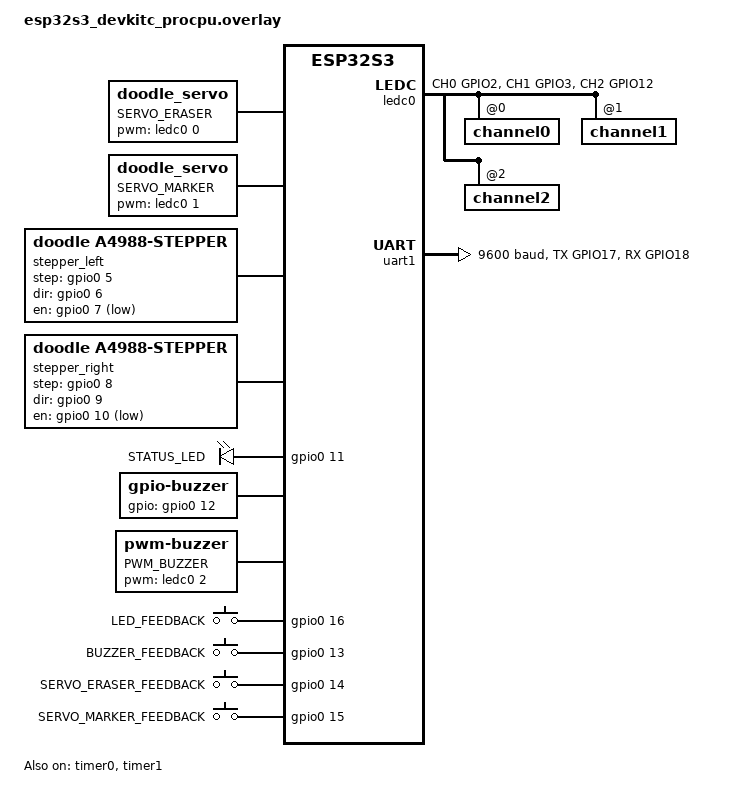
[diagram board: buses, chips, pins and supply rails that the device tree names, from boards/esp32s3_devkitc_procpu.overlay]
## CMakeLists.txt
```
cmake_minimum_required(VERSION 3.20.0)

# Add devicetree bindings directory
list(APPEND DTS_ROOT ${CMAKE_SOURCE_DIR}/..)

find_package(Zephyr REQUIRED HINTS $ENV{ZEPHYR_BASE})
project(doodle_bot)

# Main application sources
file(GLOB DOODLE_BOT_SOURCES "src/*.c" "src/*.cpp")
target_sources(app PRIVATE ${DOODLE_BOT_SOURCES})

# Include driver sources for main application
target_sources(app PRIVATE 
    ${CMAKE_SOURCE_DIR}/../drivers/stepper/a4988.c
    ${CMAKE_SOURCE_DIR}/../drivers/buzzer/pwm_buzzer.c
    ${CMAKE_SOURCE_DIR}/../drivers/buzzer/melody.c
    ${CMAKE_SOURCE_DIR}/../drivers/led/simple_led.c
    ${CMAKE_SOURCE_DIR}/../drivers/servo/servo.c
)

# Include directories
target_include_directories(app PRIVATE 
    ${CMAKE_CURRENT_SOURCE_DIR}/include 
    ${CMAKE_SOURCE_DIR}/../include
    ${CMAKE_SOURCE_DIR}/../drivers/servo
    ${CMAKE_SOURCE_DIR}/../drivers/stepper
    ${CMAKE_SOURCE_DIR}/../drivers/buzzer
    ${CMAKE_SOURCE_DIR}/../drivers/led
    ${ZEPHYR_BASE}/drivers/stepper  # For step_dir_stepper_common.h
)

# Add specific flags for x86 platform to handle floating point
if(CONFIG_X86)
    target_compile_options(app PRIVATE
        $<$<COMPILE_LANGUAGE:CXX>:-m32 -mno-sse -mno-mmx>
    )
endif()
```

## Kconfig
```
# Copyright (c) 2021 Nordic Semiconductor ASA
# SPDX-License-Identifier: Apache-2.0
#
# This file is the application Kconfig entry point. All application Kconfig
# options can be defined here or included via other application Kconfig files.
# You can browse these options using the west targets menuconfig (terminal) or
# guiconfig (GUI).

menu "Zephyr"
source "Kconfig.zephyr"
endmenu

# Include out-of-tree drivers
source "../drivers/Kconfig"

config SERVO_TEST
	bool "Build servo test instead of main application"
	select SERVO
	help
	  When enabled, builds the servo test application instead of the main
	  application.

config PERIPHERAL_DEMO
	bool "Build peripheral demo instead of main application"
	select SERVO
	select STEPPER_DRIVER
	select PWM_BUZZER
	help
	  When enabled, builds the comprehensive peripheral demo showing
	  all robot components: servos, stepper motor, PWM buzzer, and LED.
	  Uses simple GPIO LED driver for reliable operation.

config SERVO_PWM_TEST
	bool "Build PWM test for servo pin debugging"
	select PWM
	help
	  When enabled, builds a direct PWM test to verify P0.12 pin output.
	  This helps debug servo connection issues by sending raw PWM signals.

config LED_TEST
	bool "Build LED test instead of main application"
	select LOCAL_LED_GPIO
	help
	  When enabled, builds the LED test application instead of the main
	  doodle bot application. This allows testing the LED driver in isolation.
	  Uses local LED driver instead of Zephyr's built-in driver.

config BUZZER_TEST
	bool "Build buzzer test instead of main application"
	select BUZZER
	help
	  When enabled, builds the buzzer test application instead of the main
	  doodle bot application. This allows testing the buzzer driver in isolation.

config PWM_BUZZER_TEST
	bool "Build PWM buzzer volume control test"
	select PWM
	help
	  When enabled, builds the PWM buzzer test application for volume control.
	  This test demonstrates how to control passive buzzer volume using PWM duty cycle.

config PWM_BUZZER_DRIVER_TEST
	bool "Build PWM buzzer driver test"
	select PWM
	help
	  When enabled, builds the PWM buzzer driver test application.
	  This test demonstrates the full PWM buzzer driver with volume and frequency control.

config STEPPER_TEST
	bool "Build stepper test instead of main application"
	select DOODLE_A4988_STEPPER
	help
	  Builds stepper test application for isolated driver testing.

module = APP
module-str = APP
```

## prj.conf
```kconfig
# Enable C++ support
CONFIG_CPP=y

# Enable PWM for servo control
CONFIG_PWM=y

# Enable PWM shell commands for debugging
CONFIG_PWM_SHELL=y

# LED: Using custom simple_led driver, not Zephyr's LED subsystem
CONFIG_LED=n

# Enable custom servo driver
CONFIG_SERVO=y

# Enable Zephyr stepper driver subsystem
CONFIG_STEPPER=y

# Enable counter for stepper step timing
CONFIG_COUNTER=y

# Enable GPIO (required for stepper step/dir/enable pins)
CONFIG_GPIO=y

# Enable console/logging for debugging
CONFIG_CONSOLE=y
CONFIG_UART_CONSOLE=y
CONFIG_SERIAL=y

# Enable floating point support in printk
CONFIG_CBPRINTF_FP_SUPPORT=y
CONFIG_LOG=n
CONFIG_LOG_DEFAULT_LEVEL=3
CONFIG_LOG_BACKEND_UART=y

# Disable colored output and simplify format for clean terminal
CONFIG_LOG_BACKEND_UART_OUTPUT_TEXT=y
CONFIG_LOG_BACKEND_FORMAT_TIMESTAMP=n

# Module-specific log levels (0=OFF, 1=ERR, 2=WRN, 3=INF, 4=DBG)
# Set stepper log level to only show errors
# CONFIG_LOG_LEVEL=1

# Disable shell for clean presentation output
# CONFIG_SHELL=y
# CONFIG_SHELL_BACKENDS=y
# CONFIG_SHELL_BACKEND_SERIAL=y
CONFIG_BT=y
CONFIG_BT_PERIPHERAL=y
CONFIG_BT_ZEPHYR_NUS=y
CONFIG_BT_DEVICE_NAME="DOO"

# Enable system reboot
CONFIG_REBOOT=y
```

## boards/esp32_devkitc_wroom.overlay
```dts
/ {
    servo: servo {
        compatible = "doodle-servo";
        pwms = <&ledc0 0 20000000 0>; /* 20ms period, normal polarity on LEDC channel 0 */
    };
};

&pinctrl {
    ledc0_default: ledc0_default {
        group1 {
            pinmux = <LEDC_CH0_GPIO2>; /* GPIO2 for servo PWM */
            output-enable;
        };
    };
};

&ledc0 {
    status = "okay";
    pinctrl-0 = <&ledc0_default>;
    pinctrl-names = "default";
    #pwm-cells = <3>;
};
```

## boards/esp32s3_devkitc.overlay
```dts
/ {
    /* Servo motor for eraser control - GPIO4 PWM */
    servo_eraser: servo_eraser {
        compatible = "doodle-servo";
        pwms = <&ledc0 0 20000000 0>; /* 20ms period, normal polarity - GPIO4 */
        label = "SERVO_ERASER";
    };

    /* Servo motor for marker control - GPIO15 PWM */
    servo_marker: servo_marker {
        compatible = "doodle-servo";
        pwms = <&ledc0 1 20000000 0>; /* 20ms period, normal polarity - GPIO15 */
        label = "SERVO_MARKER";
    };

    /* Left stepper motor via A4988 driver */
    stepper_left: stepper_left {
        compatible = "stepper-driver";
        step-gpio = <&gpio0 5 GPIO_ACTIVE_HIGH>;      /* GPIO5 - Step pulses */
        direction-gpio = <&gpio0 6 GPIO_ACTIVE_HIGH>; /* GPIO6 - Direction control */
        enable-gpio = <&gpio0 7 GPIO_ACTIVE_LOW>;     /* GPIO7 - Enable/disable */
        label = "LEFT_STEPPER";
        steps-per-revolution = <200>;
        microsteps = <16>;            /* Fixed 1/16 microstepping (hardwired) */
        max-speed = <3200>;           /* Max steps/sec (with microstepping) */
        acceleration = <1000>;        /* Steps/sec² */
    };

    /* Right stepper motor via A4988 driver */
    stepper_right: stepper_right {
        compatible = "stepper-driver";
        step-gpio = <&gpio0 8 GPIO_ACTIVE_HIGH>;      /* GPIO8 - Step pulses */
        direction-gpio = <&gpio0 9 GPIO_ACTIVE_HIGH>; /* GPIO9 - Direction control */
        enable-gpio = <&gpio0 10 GPIO_ACTIVE_LOW>;    /* GPIO10 - Enable/disable */
        label = "RIGHT_STEPPER";
        steps-per-revolution = <200>;
        microsteps = <16>;            /* Fixed 1/16 microstepping (hardwired) */
        max-speed = <3200>;           /* Max steps/sec (with microstepping) */
        acceleration = <1000>;        /* Steps/sec² */
    };

    /* GPIO LED configuration */
    leds {
        compatible = "gpio-leds";
        led1: led_1 {
            gpios = <&gpio0 11 GPIO_ACTIVE_HIGH>; /* GPIO11 - Status LED */
            label = "STATUS_LED";
        };
    };

    /* GPIO Buzzer configuration */
    buzzer: buzzer {
        compatible = "gpio-buzzer";
        gpios = <&gpio0 12 GPIO_ACTIVE_HIGH>; /* GPIO12 - Buzzer */
        label = "BUZZER";
    };

    aliases {
        stepper-left = &stepper_left;
        stepper-right = &stepper_right;
        servo-eraser = &servo_eraser;
        servo-marker = &servo_marker;
        led0 = &led1;
        buzzer0 = &buzzer;
    };
};

&ledc0 {
    status = "okay";
    pinctrl-0 = <&ledc0_default>;
    pinctrl-names = "default";
    #pwm-cells = <3>;
};

&pinctrl {
    ledc0_default: ledc0_default {
        group1 {
            pinmux = <LEDC_CH0_GPIO4>,   /* GPIO4 - Servo Eraser PWM */
                     <LEDC_CH1_GPIO15>;  /* GPIO15 - Servo Marker PWM */
            output-enable;
        };
    };
};
```

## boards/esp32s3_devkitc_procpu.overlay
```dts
/ {
    /* Servo motor for eraser control - GPIO2 PWM */
    servo_eraser: servo_eraser {
        status = "okay";
        compatible = "doodle_servo";
        pwms = <&ledc0 0 20000000 0>; /* 20ms period, channel 0, normal polarity - GPIO2 */
        label = "SERVO_ERASER";
    };

    /* Servo motor for marker control - GPIO3 PWM */
    servo_marker: servo_marker {
        status = "okay";
        compatible = "doodle_servo";
        pwms = <&ledc0 1 20000000 0>; /* 20ms period, channel 1, normal polarity - GPIO3 */
        label = "SERVO_MARKER";
    };

    /* Left stepper motor via A4988 driver - GPIO-based (no PWM interference) */
    stepper_left: stepper_left {
        status = "okay";
        compatible = "doodle,a4988-stepper";
        micro-step-res = <16>;
        step-gpios = <&gpio0 5 GPIO_ACTIVE_HIGH>;      /* GPIO5 - Step pulses via GPIO toggle */
        dir-gpios = <&gpio0 6 GPIO_ACTIVE_HIGH>;       /* GPIO6 - Direction control */
        en-gpios = <&gpio0 7 GPIO_ACTIVE_LOW>;         /* GPIO7 - Enable/disable */
        counter = <&counter0>;                          /* Use timer0's counter for step timing */
    };

    /* Right stepper motor via A4988 driver - GPIO-based (no PWM interference) */
    stepper_right: stepper_right {
        status = "okay";
        compatible = "doodle,a4988-stepper";
        micro-step-res = <16>;
        invert-direction;                               /* Invert for differential drive (motors mirrored) */
        step-gpios = <&gpio0 8 GPIO_ACTIVE_HIGH>;      /* GPIO8 - Step pulses via GPIO toggle */
        dir-gpios = <&gpio0 9 GPIO_ACTIVE_HIGH>;       /* GPIO9 - Direction control */
        en-gpios = <&gpio0 10 GPIO_ACTIVE_LOW>;        /* GPIO10 - Enable/disable */
        counter = <&counter1>;                          /* Use timer1's counter for step timing */
    };

    /* DFPlayer Mini audio module */
    dfplayer: dfplayer {
        compatible = "dfplayer-mini";
        uart = <&uart1>;
        label = "DFPLAYER_MINI";
        status = "okay";
    };

    /* GPIO LED configuration */
    leds {
        compatible = "gpio-leds";
        led1: led_1 {
            gpios = <&gpio0 11 GPIO_ACTIVE_HIGH>; /* GPIO11 - External LED (moved from GPIO10) */
            label = "STATUS_LED";
        };
    };

    /* GPIO Buzzer configuration */
    buzzer: buzzer {
        compatible = "gpio-buzzer";
        gpios = <&gpio0 12 GPIO_ACTIVE_HIGH>; /* GPIO12 - Buzzer */
        label = "BUZZER";
    };

    /* PWM Buzzer with volume control - separate from GPIO buzzer */
    pwm_buzzer: pwm_buzzer {
        compatible = "pwm-buzzer";
        pwms = <&ledc0 2 2500000 0>; /* GPIO12 - 400Hz, Channel 2, normal polarity */
        label = "PWM_BUZZER";
    };

    /* Latency measurement feedback pins - jumper wire connections */
    latency_feedback {
        compatible = "gpio-keys";
        
        led_feedback: led_feedback {
            gpios = <&gpio0 16 GPIO_ACTIVE_HIGH>;  /* GPIO16 - LED feedback (moved from GPIO10) */
            label = "LED_FEEDBACK";
        };
        
        buzzer_feedback: buzzer_feedback {
            gpios = <&gpio0 13 GPIO_ACTIVE_HIGH>;  /* GPIO13 - Buzzer feedback */
            label = "BUZZER_FEEDBACK";
        };
        
        servo_eraser_feedback: servo_eraser_feedback {
            gpios = <&gpio0 14 GPIO_ACTIVE_HIGH>;  /* GPIO14 - Servo eraser feedback */
            label = "SERVO_ERASER_FEEDBACK";
        };
        
        servo_marker_feedback: servo_marker_feedback {
            gpios = <&gpio0 15 GPIO_ACTIVE_HIGH>;  /* GPIO15 - Servo marker feedback */
            label = "SERVO_MARKER_FEEDBACK";
        };
    };

    aliases {
        stepper-left = &stepper_left;
        stepper-right = &stepper_right;
        servo-eraser = &servo_eraser;
        servo-marker = &servo_marker;
        servoe = &servo_eraser;  /* servo eraser */
        servom = &servo_marker;  /* servo marker */
        led0 = &led1;
        buzzer0 = &buzzer;
        pwm-buzzer0 = &pwm_buzzer;
        /* Latency measurement aliases */
        led-feedback = &led_feedback;
        buzzer-feedback = &buzzer_feedback;
        servo-eraser-feedback = &servo_eraser_feedback;
        servo-marker-feedback = &servo_marker_feedback;
    };
};

/* Enable timers and their counter sub-nodes for stepper step timing */
&timer0 {
    status = "okay";
    
    /* Enable the counter child node */
    counter0: counter {
        status = "okay";
    };
};

&timer1 {
    status = "okay";
    
    /* Enable the counter child node */
    counter1: counter {
        status = "okay";
    };
};

&ledc0 {
    status = "okay";
    pinctrl-0 = <&ledc0_default>;
    pinctrl-names = "default";
    #pwm-cells = <3>;
    #address-cells = <1>;
    #size-cells = <0>;

    /* Servo channels only - steppers now use GPIO + counter */
    channel0@0 {
        reg = <0x0>;
        timer = <0>;
    };

    channel1@1 {
        reg = <0x1>;
        timer = <0>;
    };

    channel2@2 {
        reg = <0x2>;
        timer = <1>;
    };
};

&pinctrl {
    ledc0_default: ledc0_default {
        group1 {
            pinmux = <LEDC_CH0_GPIO2>,   /* GPIO2 - Servo PWM on Channel 0 */
                     <LEDC_CH1_GPIO3>,   /* GPIO3 - Servo PWM on Channel 1 */
                     <LEDC_CH2_GPIO12>;  /* GPIO12 - Buzzer PWM on Channel 2 */
            /* GPIO5, GPIO8 now used as regular GPIO for stepper steps */
            output-enable;
        };
    };

    uart1_default: uart1_default {
        group1 {
            pinmux = <UART1_TX_GPIO17>,  /* GPIO17 - UART1 TX to DFPlayer RX */
                     <UART1_RX_GPIO18>;  /* GPIO18 - UART1 RX to DFPlayer TX */
        };
    };
};

&uart1 {
    status = "okay";
    current-speed = <9600>;
    pinctrl-0 = <&uart1_default>;
    pinctrl-names = "default";
};
```

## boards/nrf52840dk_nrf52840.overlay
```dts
/ {
    /* Servo motor for eraser control - P0.13 PWM */
    servo_eraser: servo_eraser {
        status = "okay";
        compatible = "doodle_servo";
        pwms = <&pwm0 0 20000000 0>; /* 20ms period, normal polarity - P0.13 */
        label = "SERVO_ERASER";
    };

    /* Servo motor for marker control - P0.28 PWM */
    servo_marker: servo_marker {
        status = "okay";
        compatible = "doodle_servo";
        pwms = <&pwm0 1 20000000 0>; /* 20ms period, normal polarity - P0.28 */
        label = "SERVO_MARKER";
    };

    /* Left stepper motor via A4988 driver */
    stepper_left: stepper_left {
        status = "okay";
        compatible = "doodle,a4988-stepper";
        micro-step-res = <16>;
        pwms = <&pwm0 2 20000 0>;                      /* PWM for step pulses - P0.02 */
        dir-gpios = <&gpio0 3 GPIO_ACTIVE_HIGH>;       /* P0.03 - Direction control */
        en-gpios = <&gpio0 4 GPIO_ACTIVE_LOW>;         /* P0.04 - Enable/disable */
        label = "LEFT_STEPPER";
    };

    /* Right stepper motor via A4988 driver */
    stepper_right: stepper_right {
        status = "okay";
        compatible = "doodle,a4988-stepper";
        micro-step-res = <16>;
        pwms = <&pwm1 0 20000 0>;                      /* PWM for step pulses - P0.05 */
        dir-gpios = <&gpio0 6 GPIO_ACTIVE_HIGH>;       /* P0.06 - Direction control */
        en-gpios = <&gpio0 7 GPIO_ACTIVE_LOW>;         /* P0.07 - Enable/disable */
        label = "RIGHT_STEPPER";
    };

    /* GPIO LED configuration */
    leds {
        compatible = "gpio-leds";
        led1: led_1 {
            gpios = <&gpio0 14 GPIO_ACTIVE_HIGH>; /* P0.14 - LED2 on nRF52840 DK */
            label = "STATUS_LED";
        };
    };

    /* GPIO Buzzer configuration */
    buzzer: buzzer {
        compatible = "gpio-buzzer";
        gpios = <&gpio0 15 GPIO_ACTIVE_HIGH>; /* P0.15 - GPIO15 for buzzer */
        label = "BUZZER";
    };

    /* PWM Buzzer with volume control - separate from GPIO buzzer */
    pwm_buzzer: pwm_buzzer {
        compatible = "pwm-buzzer";
        pwms = <&pwm0 3 2500000 0>; /* P0.15 - 400Hz, Channel 3, normal polarity */
        label = "PWM_BUZZER";
    };

    /* Latency measurement feedback pins - jumper wire connections */
    latency_feedback {
        compatible = "gpio-keys";
        
        led_feedback: led_feedback {
            gpios = <&gpio0 8 GPIO_ACTIVE_HIGH>;  /* P0.08 - LED feedback */
            label = "LED_FEEDBACK";
        };
        
        buzzer_feedback: buzzer_feedback {
            gpios = <&gpio0 9 GPIO_ACTIVE_HIGH>;  /* P0.09 - Buzzer feedback */
            label = "BUZZER_FEEDBACK";
        };
        
        servo_eraser_feedback: servo_eraser_feedback {
            gpios = <&gpio0 10 GPIO_ACTIVE_HIGH>;  /* P0.10 - Servo eraser feedback */
            label = "SERVO_ERASER_FEEDBACK";
        };
        
        servo_marker_feedback: servo_marker_feedback {
            gpios = <&gpio0 11 GPIO_ACTIVE_HIGH>;  /* P0.11 - Servo marker feedback */
            label = "SERVO_MARKER_FEEDBACK";
        };
    };

    aliases {
        stepper-left = &stepper_left;
        stepper-right = &stepper_right;
        servo-eraser = &servo_eraser;
        servo-marker = &servo_marker;
        servoe = &servo_eraser;  /* servo eraser */
        servom = &servo_marker;  /* servo marker */
        led0 = &led1;
        buzzer0 = &buzzer;
        pwm-buzzer0 = &pwm_buzzer;
        /* Latency measurement aliases */
        led-feedback = &led_feedback;
        buzzer-feedback = &buzzer_feedback;
        servo-eraser-feedback = &servo_eraser_feedback;
        servo-marker-feedback = &servo_marker_feedback;
    };
};

&pwm0 {
    status = "okay";
    pinctrl-0 = <&pwm0_default>;
    pinctrl-1 = <&pwm0_sleep>;
    pinctrl-names = "default", "sleep";
    #pwm-cells = <3>;
};

&pwm1 {
    status = "okay";
    pinctrl-0 = <&pwm1_default>;
    pinctrl-1 = <&pwm1_sleep>;
    pinctrl-names = "default", "sleep";
    #pwm-cells = <3>;
};

&pinctrl {
    pwm0_default: pwm0_default {
        group1 {
            psels = <NRF_PSEL(PWM_OUT0, 0, 13)>,  /* P0.13 - Servo Eraser PWM */
                    <NRF_PSEL(PWM_OUT1, 0, 28)>,  /* P0.28 - Servo Marker PWM */
                    <NRF_PSEL(PWM_OUT2, 0, 2)>,   /* P0.02 - Stepper PWM */
                    <NRF_PSEL(PWM_OUT3, 0, 15)>;  /* P0.15 - Buzzer PWM */
        };
    };

    pwm0_sleep: pwm0_sleep {
        group1 {
            psels = <NRF_PSEL(PWM_OUT0, 0, 13)>,  /* P0.13 - Servo Eraser PWM */
                    <NRF_PSEL(PWM_OUT1, 0, 28)>,  /* P0.28 - Servo Marker PWM */
                    <NRF_PSEL(PWM_OUT2, 0, 2)>,   /* P0.02 - Stepper PWM */
                    <NRF_PSEL(PWM_OUT3, 0, 15)>;  /* P0.15 - Buzzer PWM */
            low-power-enable;
        };
    };

    pwm1_default: pwm1_default {
        group1 {
            psels = <NRF_PSEL(PWM_OUT0, 0, 5)>;   /* P0.05 - Right Stepper PWM */
        };
    };

    pwm1_sleep: pwm1_sleep {
        group1 {
            psels = <NRF_PSEL(PWM_OUT0, 0, 5)>;   /* P0.05 - Right Stepper PWM */
            low-power-enable;
        };
    };
};
```

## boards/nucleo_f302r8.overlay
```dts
/*
 * Copyright (c) 2021 Nordic Semiconductor ASA
 * SPDX-License-Identifier: Apache-2.0
 */

/* This devicetree overlay file will be automatically picked by the Zephyr
 * build system when building the sample for the nucleo_f302r8 board. It shows
 * how the example-application can be built on sample boards already provided
 * by Zephyr.
 */

/ {
	example_sensor: example-sensor {
		compatible = "zephyr,example-sensor";
		input-gpios = <&gpioc 13 (GPIO_PULL_UP | GPIO_ACTIVE_LOW)>;
	};

	servo_0: servo@0 {
		compatible = "doodle,servo";
		pwms = <&pwm1 1 PWM_USEC(20000) PWM_POLARITY_NORMAL>;
		status = "okay";
	};
};

&gpioc {
	status = "okay";
};
```

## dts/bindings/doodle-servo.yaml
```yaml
# Copyright (c) 2025 Doodle Bot Project
# SPDX-License-Identifier: Apache-2.0

description: PWM-driven servo motor with custom driver.

compatible: "doodle-servo"

include: base.yaml

properties:
  pwms:
    required: true
    type: phandle-array
    description: PWM specifier driving the servo motor.
```

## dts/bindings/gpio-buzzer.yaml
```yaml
# Copyright (c) 2025 Doodle Bot Project
# SPDX-License-Identifier: Apache-2.0

description: Simple GPIO-controlled buzzer

compatible: "gpio-buzzer"

include: base.yaml

properties:
  gpios:
    required: true
    type: phandle-array
    description: GPIO pin controlling the buzzer
```

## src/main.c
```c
#include <zephyr/kernel.h>
#include <zephyr/device.h>
#include <stdlib.h>

#include "comms.h"
// #include "navigation.h"
#include "state.h"
// #include "ui.h"


#define STACK_SIZE      2048


#define COMMS_PRIORITY   1
// #define IMU_PRIORITY    2
// #define NAV_PRIORITY    3
#define STATE_PRIORITY  1

K_THREAD_STACK_DEFINE(comms_stack, STACK_SIZE);
// K_THREAD_STACK_DEFINE(imu_stack, STACK_SIZE);
// K_THREAD_STACK_DEFINE(nav_stack, STACK_SIZE);
K_THREAD_STACK_DEFINE(state_stack, STACK_SIZE);

static struct k_thread comms_thread_data;
// static struct k_thread imu_thread_data;
// static struct k_thread nav_thread_data;
static struct k_thread state_thread_data;

typedef bool (*init_func_t)(void);

int main(void) {

    // Initialize hardware

    k_thread_create(&comms_thread_data, comms_stack, STACK_SIZE,
                    comms_thread, NULL, NULL, NULL,
                    COMMS_PRIORITY, 0, K_NO_WAIT);

    // k_thread_create(&imu_thread_data, imu_stack, STACK_SIZE,
    //                 imu_thread, NULL, NULL, NULL,
    //                 IMU_PRIORITY, 0, K_NO_WAIT);

    // k_thread_create(&nav_thread_data, nav_stack, STACK_SIZE,
    //                 nav_thread, NULL, NULL, NULL,
    //                 NAV_PRIORITY, 0, K_NO_WAIT);

    k_thread_create(&state_thread_data, state_stack, STACK_SIZE,
                    state_thread, NULL, NULL, NULL,
                    STATE_PRIORITY, 0, K_NO_WAIT);

    return EXIT_SUCCESS;
}
```

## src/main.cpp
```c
#include <zephyr/kernel.h>
#include <stdlib.h>
#include <zephyr/sys/printk.h>

#include "instruction_parser.h"
#include "comms_thread.h"
#include "motion_plan.h"
#include "motion_execute.h"
#include "state_task.h"
#include "config.h"
#include "pwm_buzzer.h"


/* QUEUE MANAGEMENT */
K_MSGQ_DEFINE(gcode_cmd_msgq, sizeof(InstructionParser::GCodeCmd), MESSAGES_PER_QUEUE, alignof(InstructionParser::GCodeCmd));
// Execute queue only needs to buffer between threads, not hold entire motion plan output
#define EXECUTE_QUEUE_SIZE 128
K_MSGQ_DEFINE(execute_cmd_msgq, sizeof(ExecuteCommand), EXECUTE_QUEUE_SIZE, alignof(ExecuteCommand));


/* THREAD DEFINITION AND MANAGEMENT */

#define STACK_SIZE 1024*8

#define MOTION_EXECUTE_PRIORITY  0  // Highest priority for real-time motion
#define STATE_PRIORITY           1
#define MOTION_PLAN_PRIORITY     2
#define COMMS_PRIORITY           3

K_THREAD_STACK_DEFINE(comms_thread_stack, STACK_SIZE);
K_THREAD_STACK_DEFINE(motion_plan_thread_stack, STACK_SIZE);
K_THREAD_STACK_DEFINE(motion_execute_thread_stack, STACK_SIZE);
K_THREAD_STACK_DEFINE(state_thread_stack, STACK_SIZE);

static struct k_thread comms_thread_data;
static struct k_thread motion_plan_thread_data;
static struct k_thread motion_execute_thread_data;
static struct k_thread state_thread_data;

    
/* HARDWARE INITIALIZATION */

static int hardware_init() {
    // Stepper motors are auto-initialized via Zephyr's device model (devicetree)
    // Servo, LED initialization is handled by their respective wrappers
    
    // Initialize buzzer early so it's ready for BLE connect/disconnect events
    int ret = pwm_buzzer_init();
    if (ret < 0) {
        printk("WARNING: Buzzer initialization failed: %d\n", ret);
    }
    
    printk("Hardware initialized successfully\n");
    return 0;
}

/* MAIN FUNCTION */

int main(void) {

    int ret = hardware_init();
    if (ret < 0)
    {
        printk("ERROR: Hardware initialization failed\n");
    }
    
    
    /* Start threads */
    k_thread_create(&comms_thread_data, comms_thread_stack, STACK_SIZE,
                    comms_thread, &gcode_cmd_msgq, NULL, NULL,
                    COMMS_PRIORITY, 0, K_NO_WAIT);

    k_thread_create(&motion_plan_thread_data, motion_plan_thread_stack, STACK_SIZE,
                    motion_plan_thread, &gcode_cmd_msgq, &execute_cmd_msgq, NULL,
                    MOTION_PLAN_PRIORITY, 0, K_NO_WAIT);
    
    k_thread_create(&motion_execute_thread_data, motion_execute_thread_stack, STACK_SIZE,
                    motion_execute_thread, &execute_cmd_msgq, NULL, NULL,
                    MOTION_EXECUTE_PRIORITY, 0, K_NO_WAIT);


    k_thread_create(&state_thread_data, state_thread_stack, STACK_SIZE,
                    state_thread, NULL, NULL, NULL,
                    STATE_PRIORITY, 0, K_NO_WAIT);

    return EXIT_SUCCESS;
}
```

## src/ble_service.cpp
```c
#include <zephyr/kernel.h>
#include <zephyr/sys/reboot.h>
#include "ble_service.h"
#include "comms_thread.h"
#include "melody.h"
#include <stdbool.h>
#include <stdio.h>
#include <zephyr/toolchain.h>


/* ACK QUEUE CONFIGURATION */

#define ACK_QUEUE_SIZE 16
#define ACK_DELAY_MS 100  // Minimum delay between ACKs (100ms for reliable BLE)

// Queue to hold pending ACK packet IDs
K_MSGQ_DEFINE(ack_queue, sizeof(uint8_t), ACK_QUEUE_SIZE, 1);

// Delayed work for sending ACKs
static struct k_work_delayable ack_work;

static void ack_work_handler(struct k_work *work) {
    ARG_UNUSED(work);
    uint8_t pid;
    
    // Get next ACK from queue
    if (k_msgq_get(&ack_queue, &pid, K_NO_WAIT) == 0) {
        if (BleService::instance != nullptr) {
            char ack[sizeof("aok\n")] = "aok\n";
            ack[0] = pid;
            
            #ifdef DEBUG_BLE
            printk("BLE_ACK: Sending ACK for pid=%d\n", pid);
            #endif
            
            BleService::instance->send(ack, sizeof(ack));
        }
        
        // If more ACKs pending, schedule next one with delay
        if (k_msgq_num_used_get(&ack_queue) > 0) {
            k_work_schedule(&ack_work, K_MSEC(ACK_DELAY_MS));
        }
    }
}


/* STATIC MEMBER DEFINITIONS */

// Static instance pointer for callbacks
BleService* BleService::instance = nullptr;

const struct bt_data BleService::ad[] = {
    BT_DATA_BYTES(BT_DATA_FLAGS, (BT_LE_AD_GENERAL | BT_LE_AD_NO_BREDR)),
    BT_DATA(BT_DATA_NAME_COMPLETE, DEVICE_NAME, DEVICE_NAME_LEN),
};

const struct bt_data BleService::sd[] = {
    BT_DATA_BYTES(BT_DATA_UUID128_ALL, BT_UUID_NUS_SRV_VAL),
};

struct bt_nus_cb BleService::nus_listener = {
    .notif_enabled = BleService::notif_enabled,
    .received = BleService::received,
};

static struct k_work_delayable adv_restart_work;

static void adv_restart_work_handler(struct k_work *work) {
    ARG_UNUSED(work);
    if (BleService::instance) {
        BleService::instance->startAdvertising();
    }
}

BT_CONN_CB_DEFINE(conn_callbacks) = {
    .connected = BleService::connected,
    .disconnected = BleService::disconnected,
};

// Static callback implementations for NUS
void BleService::notif_enabled(bool enabled, void *ctx) {
    ARG_UNUSED(ctx);
    #ifdef DEBUG_BLE
    printk("%s() - %s\n", __func__, (enabled ? "Enabled" : "Disabled"));
    #endif
}

void BleService::received(struct bt_conn *conn, const void *data, uint16_t len, void *ctx) {
    ARG_UNUSED(conn);
    ARG_UNUSED(ctx);
    
    // Forward to instance method if available
    if (BleService::instance) {
        BleService::instance->receive(data, len);
    }
}

void BleService::connected(struct bt_conn *conn, uint8_t err) {
    if (err) {
        printk("BLE_CONN::ERROR: Connection failed (err %u)\n", err);
        k_work_schedule(&adv_restart_work, K_MSEC(100));
        return;
    }
    printk("BLE_CONN::SUCCESS: Device connected\n");
    
    melody_play(MELODY_CONNECT, 10);
}

void BleService::disconnected(struct bt_conn *conn, uint8_t reason) {
    printk("BLE_CONN::INFO: Device disconnected (reason %u)\n", reason);
    
    melody_play(MELODY_DISCONNECT, 10);
    
    sys_reboot(SYS_REBOOT_WARM);
    // Reset comms state (packet ID counter, etc.)
    // comms_reset();
    
    // Schedule advertising restart via work queue (deferred to system workqueue context)
    // k_work_schedule(&adv_restart_work, K_MSEC(100));
}


/* INSTANCE METHODS */

void BleService::init() {

    // Set static instance pointer for callbacks
    BleService::instance = this;

    k_work_init_delayable(&adv_restart_work, adv_restart_work_handler);

    int err;

	err = bt_nus_cb_register(&nus_listener, NULL);
	if (err) {
		printk("BLE_INIT::ERROR: Failed to register NUS callback: %d\n", err);
		return;
	}

	err = bt_enable(NULL);
	if (err) {
		printk("BLE_INIT::ERROR: Failed to enable bluetooth: %d\n", err);
		return;
	}

	startAdvertising();
    #ifdef DEBUG_BLE
	printk("BLE_INIT::SUCCESS: Initialization complete\n");
    #endif
}

void BleService::startAdvertising() {
	bt_le_adv_stop();
	
	int err = bt_le_adv_start(BT_LE_ADV_CONN_FAST_1, ad, ARRAY_SIZE(ad), sd, ARRAY_SIZE(sd));
	if (err) {
		printk("BLE_ADV::ERROR: Failed to start advertising: %d\n", err);
		return;
	}
	printk("BLE_ADV::SUCCESS: Advertising started, waiting for connection...\n");
}

void BleService::send(const char *data, size_t len) {

    // Acquire mutex to prevent race conditions between different threads sending BLE data
    k_mutex_lock(&send_mutex, K_FOREVER);
    
    int err = bt_nus_send(NULL, data, len);
    
    if (err < 0 && (err != -EAGAIN) && (err != -ENOTCONN)) {
        printk("BLE_SEND::ERROR: Failed to send data over BLE: %d\n", err);
    } else {
        #ifdef DEBUG_BLE
        printk("BLE_SEND::SUCCESS: pid: %hhu msg: %.*s\n", *(uint8_t*)data, len-1, (const char *)(data + 1));
        #endif
    }
    
    k_mutex_unlock(&send_mutex);
}

void BleService::receive(const void *data, uint16_t len) {
    
    if (receiveHandler) {
        #ifdef DEBUG_BLE
        printk("BLE_RECEIVE::SUCCESS: received pid=%hhu cmd=%.*s\n", *(uint8_t*)data, len, (const char *)data+1);
        #endif

        receiveHandler(data, len, navigationQueue);
        return;
    } else {
        #ifdef DEBUG_BLE
        printk("BLE_RECEIVE::ERROR: No receive handler specified\n");
        #endif
    }
}

void BleService::initAckQueue() {
    k_work_init_delayable(&ack_work, ack_work_handler);
}

void BleService::queueAck(uint8_t packet_id) {
    #ifdef DEBUG_BLE
    printk("BLE_ACK: Queuing ACK for pid=%d\n", packet_id);
    #endif
    
    if (k_msgq_put(&ack_queue, &packet_id, K_NO_WAIT) != 0) {
        printk("BLE_ACK: Queue full, dropping ACK for pid=%d\n", packet_id);
        return;
    }
    k_work_schedule(&ack_work, K_MSEC(ACK_DELAY_MS));
}


/* PACKET ACK TRACKER */

void PacketAckTracker::onCommand(uint8_t packet_id) {
    if (has_prev_ && packet_id != last_id_ && g_bleService != nullptr) {
        g_bleService->queueAck(last_id_);
    }
    last_id_ = packet_id;
    has_prev_ = true;
    acked_ = false;
}

void PacketAckTracker::onTimeout() {
    if (!acked_ && has_prev_ && g_bleService != nullptr) {
        g_bleService->queueAck(last_id_);
        acked_ = true;
    }
}
```

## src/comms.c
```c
#include <zephyr/kernel.h>
#include <comms.h>
#include <stdio.h>

K_SEM_DEFINE(comms_sem, 0, 1);

void comms_thread(void *arg1, void *arg2, void *arg3) {

    printk("comms thread started\n");

    while(1) {
        k_sem_take(&comms_sem, K_FOREVER);
        // Update comms here
        printk("comms thread running\n");

        k_sleep(K_MSEC(10000));
    }

    return;
}
```

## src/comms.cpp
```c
#include <zephyr/kernel.h>
#include "comms.h"
#include "navigation.h"
#include <stdbool.h>
#include <stdio.h> // Use printf instead of iostream

#include <zephyr/bluetooth/bluetooth.h>
#include <zephyr/bluetooth/services/nus.h>

// #define TEST_CODE

K_SEM_DEFINE(comms_sem, 0, 1);

nav_instr_t dummy_instr = { 10, 20, PeripheralPosition::Up, PeripheralPosition::Down};


/* HELPER FUNCTIONS */

const struct bt_data ble_service::ad[] = {
    BT_DATA_BYTES(BT_DATA_FLAGS, (BT_LE_AD_GENERAL | BT_LE_AD_NO_BREDR)),
    BT_DATA(BT_DATA_NAME_COMPLETE, DEVICE_NAME, DEVICE_NAME_LEN),
};

const struct bt_data ble_service::sd[] = {
    BT_DATA_BYTES(BT_DATA_UUID128_ALL, BT_UUID_NUS_SRV_VAL),
};

struct bt_nus_cb ble_service::nus_listener = {
    .notif_enabled = ble_service::notif_enabled,
    .received = ble_service::received,
};

// Static method implementations
void ble_service::notif_enabled(bool enabled, void *ctx) {
    ARG_UNUSED(ctx);
    printk("%s() - %s\n", __func__, (enabled ? "Enabled" : "Disabled"));
}

void ble_service::received(struct bt_conn *conn, const void *data, uint16_t len, void *ctx) {
    ARG_UNUSED(conn);
    ARG_UNUSED(ctx);
    printk("%s() - Len: %d, Message: %.*s\n", __func__, len, len, (char *)data);
    ble_service::receive(data, len);
}


/* INTERFACE METHODS */

void ble_service::init() {
    // Initialize BLE service
    int err;

	printk("Sample - Bluetooth Peripheral NUS\n");

	err = bt_nus_cb_register(&nus_listener, NULL);
	if (err) {
		printk("ERROR: Failed to register NUS callback: %d\n", err);
		return;
	}

	err = bt_enable(NULL);
	if (err) {
		printk("ERROR: Failed to enable bluetooth: %d\n", err);
		return;
	}

	err = bt_le_adv_start(BT_LE_ADV_CONN_FAST_1, ad, ARRAY_SIZE(ad), sd, ARRAY_SIZE(sd));
	if (err) {
		printk("ERROR: Failed to start advertising: %d\n", err);
		return;
	}

	printk("Initialization complete\n");
}

void ble_service::send(const char *data, size_t len) {
    // Send data over BLE
    int err = bt_nus_send(NULL, data, len);
    printk("Data send - Result: %d\n", err);
    if (err < 0 && (err != -EAGAIN) && (err != -ENOTCONN)) {
        printk("ERROR: Failed to send data over BLE: %d\n", err);
    }
}

void ble_service::receive(const void *data, uint16_t len) {
    // Process received BLE data
    printk("BLE Received %d bytes: %.*s\n", len, len, (char *)data);
    
    // TODO: Parse received data and convert to navigation instructions
    // For now, just log the received data
}

bool ble_service::is_connected() {
    // Check if BLE is connected
    return true;
}

/* THREAD FUNCTIONS */

void *pull_next_instr() {
    // TODO: implement this, just mocking out for now

    // get from gatt
        // store in var
    
    // send ack to gat for next instr to post
    
    return &dummy_instr;
}

void comms_thread(void *nav_instr_queue, void *arg2, void *arg3) {

    k_msgq *q = static_cast<k_msgq *>(nav_instr_queue);

    

    #ifdef TEST_CODE
    printk("comms thread started\n");

    while(1) {
        k_sem_take(&comms_sem, K_FOREVER);
        // Update comms here
        printk("comms thread running\n");

        k_sleep(K_MSEC(10000));
    }
    #endif

    
        printf("Sanity check comms thread!\n");
        static uint8_t count;



        // TODO: Create semaphore to wake when available data
        // based on BLE isr

        ble_service::init();

        while(true) {
            const char *hello_world = "Hello World!\n";

		    k_sleep(K_SECONDS(3));
            ble_service::send(hello_world, strlen(hello_world));

        }

        // Check if room in instruction queue
        // if (k_msgq_num_free_get(q)){
        //     // get data
        //     // pull from gat
        //     count += 1;
        //     printf("%d messages sent.\n", count);
        //     void *next_instr = pull_next_instr();
        //     k_msgq_put(q, next_instr, K_FOREVER);
        // } else {
        //     // sleep
        //     k_msleep(1000); // sleep 100 ms
        // }
    

    return;
}
```

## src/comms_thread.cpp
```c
#include <zephyr/kernel.h>
#include <zephyr/sys/errno_private.h>
#include "comms_thread.h"
#include "instruction_parser.h"
#include "ble_service.h"
#include "navigation.h"
#include <stdbool.h>
#include <stdio.h>
#include <string.h>

// Global BLE service pointer
BleService* g_bleService = nullptr;

// Static parser instance (file-level so it can be reset)
static InstructionParser g_parser;

void comms_reset() {
    g_parser.reset();
    printk("COMMS::INFO: Parser state reset (packet ID = 0)\n");
}

//------------------
// THREAD
// -----------------

/* THREAD FUNCTIONS */

// Handler that processes G-code and queues navigation instructions
void gcode_to_nav_handler(const void* data, uint16_t len, k_msgq *q) {

    int ret = 0;

    #ifdef DEBUG_BLE
    printk("COMMS_HANDLER: Received data of length %d: ", len);
    for (int i = 0; i < len; i++) {
        printk("%02X ", ((uint8_t*)data)[i]);
    }
    printk("\n");
    printk("COMMS_HANDLER: As string: %.*s\n", len, (const char*)data);
    #endif

    InstructionParser::GCodeCmd cmd;

    uint8_t expected_packet_id = g_parser.expected_packet_id;

    // Let the parser handle packet ID validation as it was designed
    ret = g_parser.parseLine((const char*)data, cmd);

    // handle failed parse
    if (ret < 0) {
        printk("COMMS_HANDLER::ERROR: failed to parse G-code\n");

        // Send NACK
        char nack[sizeof("afail\n")] = "afail\n";
        nack[0] = expected_packet_id;
        #ifdef DEBUG_BLE
            printk("Sending NACK: %s (id:%d)\n", nack, (uint8_t)nack[0]);
        #endif
        g_bleService->send(nack, sizeof(nack));
        return;
    }

    // Queue parsed instruction for navigation
    if (k_msgq_put(q, &cmd, K_NO_WAIT) != 0) {
        printk("Queue full, dropping message\n");
        return;
    }

    // Send ACK on success
    char ack[sizeof("aok\n")] = "aok\n";
    ack[0] = cmd.packet_id;
    g_bleService->send(ack, sizeof(ack));
}

void comms_thread(void *gcode_cmd_msgq_void, void *arg2, void *arg3) {

    k_msgq *q = static_cast<k_msgq *>(gcode_cmd_msgq_void);

    BleService bleService(q, gcode_to_nav_handler);
    g_bleService = &bleService; // TODO: add ownership to this pointer
    
    bleService.init();

    while(true) {
        k_sleep(K_FOREVER);
    }

}
```

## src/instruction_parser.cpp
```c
#include "instruction_parser.h"
#include <zephyr/sys/printk.h>
#include <errno.h>

//-------------------------
// INSTRUCTION PARSING
// ------------------------

// TODO: Make the language supported more modular
// Don't hardcode expected character and numbers
int InstructionParser::parseLine(const char* line, GCodeCmd& outCmd) {
    outCmd = {}; // reset
    const char* ptr = line;

    // find and validate packet id
    uint8_t packet_id = (uint8_t)*ptr;
    if (packet_id == expected_packet_id) {
        outCmd.packet_id = packet_id;
        expected_packet_id++; // increment if successful
    } else {
        printk("Packet ID mismatch: expected %d, got %d\n", expected_packet_id, packet_id);
        return -EINVAL;
    }

    ptr++;

    // validate command code
    outCmd.code = toupper(*ptr++);
    if (outCmd.code != 'G' && outCmd.code != 'M') {
        printk("Invalid command code: %c\n", outCmd.code);
        return -EINVAL;
    }

    // read the numeric command number and advance pointer
    outCmd.number = atoi(ptr);
    while (isdigit(*ptr)) ptr++;
    outCmd.argc = 0;

    // parse arguments
    while (*ptr && outCmd.argc < MAX_ARGS) {
        while (isspace(*ptr)) ptr++;
        if (!*ptr || ((char)*ptr == ';')) break;
        if (!isalpha(*ptr)) { ptr++; continue; }

        Arg& arg = outCmd.args[outCmd.argc++];
        arg.letter = toupper(*ptr++);
        arg.value = (float)atof(ptr);
        // Skip past the number
        if (*ptr == '-' || *ptr == '+') ptr++;
        while (isdigit(*ptr) || *ptr == '.') ptr++;
    }

    #ifdef DEBUG_INSTRUCTION_PARSER
        // TODO: Debug print the parsed command

    #endif
    
    // validate that the command is supported
    return isSupported(outCmd);
}

int InstructionParser::isSupported(const GCodeCmd& cmd) {
    if (cmd.code == 'G' && (cmd.number == 91 || cmd.number == 1 || cmd.number == 90))
        return 0;
    if (cmd.code == 'M' && (cmd.number == 280 || cmd.number == 503 || cmd.number == 504))
        return 0;
    return -EINVAL;
}
```

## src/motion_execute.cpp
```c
#include <zephyr/kernel.h>
#include "motion_execute.h"
#include "ble_service.h"
#include "config.h"

// Static stepper instances
Stepper MotionExecutor::stepper_left_(STEPPER_LEFT);
Stepper MotionExecutor::stepper_right_(STEPPER_RIGHT);

// Stepper motion timer - signals control period complete (does NOT stop motors)
K_SEM_DEFINE(stepper_period_complete, 0, 1);

static void stepper_timer_expiry(struct k_timer *timer)
{
    ARG_UNUSED(timer);
    // Don't stop motors here - let thread decide based on next command
    k_sem_give(&stepper_period_complete);
}

K_TIMER_DEFINE(stepper_motion_timer, stepper_timer_expiry, NULL);

MotionExecutor::MotionExecutor() : servo_marker_("servom"), servo_eraser_("servoe") {
    stepper_left_.initialize();
    stepper_right_.initialize();
    servo_marker_.initialize();
    servo_eraser_.initialize();
    led_.initialize();
}

void MotionExecutor::consumeCommands(const ExecuteCommand& cmd) {
    switch (cmd.device()) {
        case Device::Steppers:
            #ifdef DEBUG_MOTION_EXECUTION
            printk("[EXEC] G1 - Begin stepper move (L:%.2f R:%.2f deg/s)\n", 
                   (double)cmd.steppers().left_velocity, (double)cmd.steppers().right_velocity);
            #endif
            executeStepperCommand(cmd);
            break;
        case Device::MarkerServo:
            #ifdef DEBUG_MOTION_EXECUTION
            printk("[EXEC] M280 P0 S%d - Begin marker servo move\n", cmd.servo().angle);
            #endif
            executeServoCommand(cmd);
            break;
        case Device::EraserServo:
            #ifdef DEBUG_MOTION_EXECUTION
            printk("[EXEC] M280 P1 S%d - Begin eraser servo move\n", cmd.servo().angle);
            #endif
            executeServoCommand(cmd);
            break;
        case Device::StatusLed:
            #ifdef DEBUG_MOTION_EXECUTION
            printk("[EXEC] LED state=%d\n", cmd.led().state);
            #endif
            executeLedCommand(cmd);
            break;
        default:
            printk("MotionExecutor: Unknown device %d\n", static_cast<int>(cmd.device()));
            break;
    }
}

void MotionExecutor::executeStepperCommand(const ExecuteCommand& cmd) {
    stepper_left_.setVelocity(cmd.steppers().left_velocity);
    stepper_right_.setVelocity(cmd.steppers().right_velocity);
    
    // Start timer for control period
    k_timer_start(&stepper_motion_timer, K_MSEC((int)(STEPPER_CTRL_PERIOD * 1000)), K_NO_WAIT);
    
    // Wait for control period to complete (motors keep running)
    k_sem_take(&stepper_period_complete, K_FOREVER);
}

void MotionExecutor::stopSteppers() {
    stepper_left_.setVelocity(0);
    stepper_right_.setVelocity(0);
}

// Time for servo to reach position (ms) - typical hobby servo is ~200ms for full sweep
#define SERVO_SETTLE_TIME_MS 300

void MotionExecutor::executeServoCommand(const ExecuteCommand& cmd) {
    const auto& servo = cmd.servo();

    if (servo.servo_id == 0) {
        servo_marker_.setAngle(servo.angle);
    } else {
        servo_eraser_.setAngle(servo.angle);
    }
    
    // Wait for servo to physically reach position
    k_sleep(K_MSEC(SERVO_SETTLE_TIME_MS));
}

void MotionExecutor::executeLedCommand(const ExecuteCommand& cmd) {
    // Use led_.set() to match test-esp-led behavior (calls led_driver_set)
    led_.set(cmd.led().state ? 1 : 0);
}

void MotionExecutor::reset() {
    stepper_left_.stop();
    stepper_right_.stop();
}

// ---------------------
// Motion Execute Thread
// ---------------------

#define PACKET_ACK_TIMEOUT_MS 500

void motion_execute_thread(void *msgq, void *, void *) {
    auto *queue = static_cast<struct k_msgq *>(msgq);

    BleService::initAckQueue();
    MotionExecutor executor;
    PacketAckTracker ackTracker;

    ExecuteCommand cmd;
    bool steppers_running = false;
    
    while (1) {
        int ret = k_msgq_get(queue, &cmd, K_MSEC(PACKET_ACK_TIMEOUT_MS));
        
        if (ret == -EAGAIN) {
            // Timeout - no new commands
            if (steppers_running) {
                executor.stopSteppers();
                steppers_running = false;
            }
            ackTracker.onTimeout();
            continue;
        }
        
        ackTracker.onCommand(cmd.packet_id());
        
        // If switching from steppers to servo, stop steppers first
        if (steppers_running && cmd.device() != Device::Steppers) {
            executor.stopSteppers();
            steppers_running = false;
        }
        
        executor.consumeCommands(cmd);
        
        // Track if steppers are now running
        if (cmd.device() == Device::Steppers) {
            steppers_running = true;
            
            // Check if more stepper commands are pending
            if (k_msgq_num_used_get(queue) == 0) {
                // No more commands - stop steppers
                executor.stopSteppers();
                steppers_running = false;
            }
            // else: more commands pending, keep steppers running at current velocity
        }
    }
}
```

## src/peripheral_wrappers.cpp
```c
#include "peripheral_wrappers.h"
```

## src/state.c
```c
#include <zephyr/kernel.h>
#include <state.h>
#include <stdio.h>


// #define DEBUG_LIDAR

void state_thread(void *arg1, void *arg2, void *arg3) {

    printk("State thread started\n");

    while(1) {
        // Update state here
        printk("State thread running\n");

        k_sleep(K_MSEC(10000));
    }

    return;
}
```
